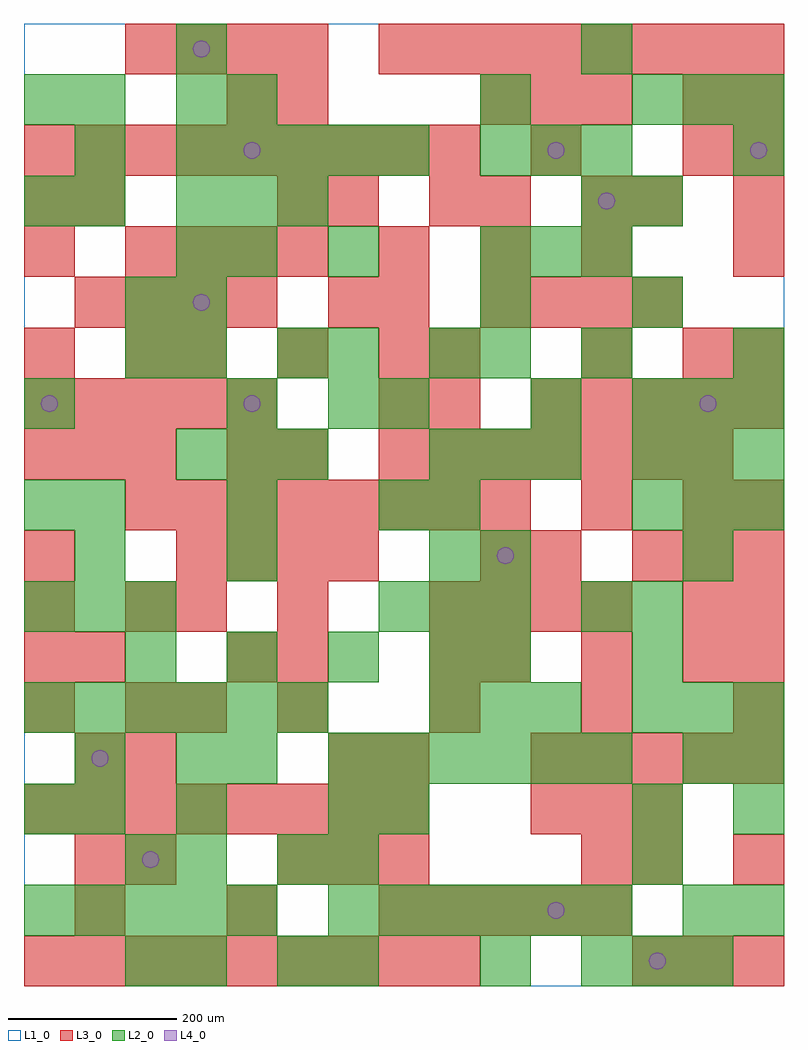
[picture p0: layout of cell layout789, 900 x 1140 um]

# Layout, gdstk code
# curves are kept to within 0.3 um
import gdstk
lib = gdstk.Library(unit=1e-6, precision=1e-09)
def R(c, l, rs):  # rectangles x0, y0, x1, y1
    for r in rs: c.add(gdstk.rectangle(r[:2], r[2:], *l))
def A(c, l, x, y, w, h, nx, ny, dx, dy):  # array of equal rectangles
    R(c, l, [(x+i*dx, y+j*dy, x+i*dx+w, y+j*dy+h) for i in range(nx) for j in range(ny)])
def P(c, l, *ps):  # polygons
    for p in ps: c.add(gdstk.Polygon(p, *l))
L1_0 = (1, 0)
L2_0 = (2, 0)
L3_0 = (3, 0)
L4_0 = (4, 0)

layout789 = lib.new_cell('layout789')
R(layout789, L1_0, [(0,0,900,1140)])
A(layout789, L2_0, 660, 0, 60, 60, 3, 1, 60, 0)
A(layout789, L2_0, 0, 60, 60, 60, 5, 1, 60, 0)
A(layout789, L2_0, 360, 60, 60, 60, 6, 2, 60, 180)
A(layout789, L2_0, 180, 120, 60, 60, 1, 3, 0, 60)
A(layout789, L2_0, 0, 300, 60, 60, 6, 1, 60, 0)
A(layout789, L2_0, 480, 300, 60, 60, 3, 2, 60, 300)
A(layout789, L2_0, 720, 300, 60, 60, 3, 2, 60, 240)
A(layout789, L2_0, 120, 360, 60, 60, 4, 1, 120, 0)
A(layout789, L2_0, 0, 420, 60, 60, 3, 1, 60, 0)
A(layout789, L2_0, 420, 420, 60, 60, 3, 1, 60, 0)
A(layout789, L2_0, 240, 480, 60, 60, 1, 4, 0, 180)
A(layout789, L2_0, 60, 540, 60, 60, 3, 1, 180, 0)
A(layout789, L2_0, 180, 600, 60, 60, 3, 2, 60, 300)
A(layout789, L2_0, 720, 600, 60, 60, 3, 2, 60, 60)
A(layout789, L2_0, 180, 720, 60, 60, 1, 3, 0, 60)
A(layout789, L2_0, 660, 720, 60, 60, 1, 3, 0, 180)
A(layout789, L2_0, 540, 840, 60, 60, 3, 2, 60, 120)
A(layout789, L2_0, 60, 900, 60, 60, 1, 3, 0, 60)
A(layout789, L2_0, 180, 960, 60, 60, 5, 1, 60, 0)
A(layout789, L2_0, 720, 1020, 60, 60, 3, 1, 60, 0)
R(layout789, L2_0, [(120,0,180,60), (180,0,240,60), (300,0,360,60), (360,0,420,60), (540,0,600,60), (780,60,840,120), (840,60,900,120), (120,120,180,180), (300,120,360,180), (360,120,420,180), (720,120,780,180), (0,180,60,240), (60,180,120,240), (360,180,420,240), (420,180,480,240), (720,180,780,240), (840,180,900,240), (60,240,120,300), (240,240,300,300), (780,240,840,300), (840,240,900,300), (540,360,600,420), (720,360,780,420), (660,420,720,480), (720,420,780,480), (60,480,120,540), (480,480,540,540), (540,480,600,540), (780,480,840,540), (0,540,60,600), (480,540,540,600), (0,660,60,720), (360,660,420,720), (420,660,480,720), (600,660,660,720), (120,720,180,780), (300,720,360,780), (360,720,420,780), (480,720,540,780), (540,720,600,780), (840,720,900,780), (120,780,180,840), (540,780,600,840), (720,780,780,840), (360,840,420,900), (0,900,60,960), (720,900,780,960), (840,960,900,1020), (0,1020,60,1080), (180,1020,240,1080), (540,1020,600,1080), (180,1080,240,1140)])
A(layout789, L3_0, 0, 0, 60, 60, 9, 2, 60, 960)
A(layout789, L3_0, 720, 0, 60, 60, 3, 2, 60, 480)
A(layout789, L3_0, 60, 60, 60, 60, 3, 1, 180, 0)
A(layout789, L3_0, 480, 60, 60, 60, 4, 2, 60, 360)
A(layout789, L3_0, 60, 120, 60, 60, 1, 3, 0, 120)
A(layout789, L3_0, 300, 120, 60, 60, 3, 1, 60, 0)
A(layout789, L3_0, 0, 180, 60, 60, 8, 1, 60, 0)
A(layout789, L3_0, 600, 180, 60, 60, 3, 1, 60, 0)
A(layout789, L3_0, 600, 240, 60, 60, 5, 2, 60, 420)
A(layout789, L3_0, 0, 300, 60, 60, 1, 4, 0, 60)
A(layout789, L3_0, 300, 300, 60, 60, 4, 1, 180, 0)
A(layout789, L3_0, 540, 360, 60, 60, 3, 1, 120, 0)
A(layout789, L3_0, 180, 480, 60, 60, 4, 1, 60, 0)
A(layout789, L3_0, 120, 540, 60, 60, 8, 1, 60, 0)
A(layout789, L3_0, 660, 540, 60, 60, 1, 3, 0, 180)
A(layout789, L3_0, 0, 600, 60, 60, 3, 1, 60, 0)
A(layout789, L3_0, 420, 600, 60, 60, 7, 1, 60, 0)
A(layout789, L3_0, 0, 660, 60, 60, 5, 1, 60, 0)
A(layout789, L3_0, 180, 720, 60, 60, 3, 1, 120, 0)
A(layout789, L3_0, 60, 780, 60, 60, 4, 1, 60, 0)
A(layout789, L3_0, 540, 780, 60, 60, 4, 1, 60, 0)
A(layout789, L3_0, 120, 840, 60, 60, 4, 2, 60, 240)
A(layout789, L3_0, 420, 840, 60, 60, 3, 1, 120, 0)
A(layout789, L3_0, 840, 840, 60, 60, 1, 4, 0, 60)
A(layout789, L3_0, 540, 1020, 60, 60, 3, 1, 60, 0)
A(layout789, L3_0, 420, 1080, 60, 60, 8, 1, 60, 0)
R(layout789, L3_0, [(120,120,180,180), (660,120,720,180), (720,120,780,180), (840,120,900,180), (120,240,180,300), (360,240,420,300), (420,240,480,300), (120,300,180,360), (180,300,240,360), (240,360,300,420), (300,360,360,420), (480,360,540,420), (840,360,900,420), (120,420,180,480), (180,420,240,480), (300,420,360,480), (780,420,840,480), (840,420,900,480), (540,480,600,540), (600,480,660,540), (780,540,840,600), (840,540,900,600), (240,600,300,660), (300,600,360,660), (420,660,480,720), (480,660,540,720), (0,720,60,780), (120,720,180,780), (480,720,540,780), (780,720,840,780), (840,720,900,780), (360,780,420,840), (420,780,480,840), (0,840,60,900), (0,900,60,960), (60,900,120,960), (300,900,360,960), (360,900,420,960), (480,900,540,960), (540,900,600,960), (720,900,780,960), (600,960,660,1020), (780,960,840,1020), (240,1020,300,1080), (300,1020,360,1080), (780,1020,840,1080)])
P(layout789, L4_0, [(40,690),(39.239,693.827),(37.071,697.071),(33.827,699.239),(30,700),(26.173,699.239),(22.929,697.071),(20.761,693.827),(20,690),(20.761,686.173),(22.929,682.929),(26.173,680.761),(30,680),(33.827,680.761),(37.071,682.929),(39.239,686.173)],
  [(100,270),(99.239,273.827),(97.071,277.071),(93.827,279.239),(90,280),(86.173,279.239),(82.929,277.071),(80.761,273.827),(80,270),(80.761,266.173),(82.929,262.929),(86.173,260.761),(90,260),(93.827,260.761),(97.071,262.929),(99.239,266.173)],
  [(160,150),(159.239,153.827),(157.071,157.071),(153.827,159.239),(150,160),(146.173,159.239),(142.929,157.071),(140.761,153.827),(140,150),(140.761,146.173),(142.929,142.929),(146.173,140.761),(150,140),(153.827,140.761),(157.071,142.929),(159.239,146.173)],
  [(220,810),(219.239,813.827),(217.071,817.071),(213.827,819.239),(210,820),(206.173,819.239),(202.929,817.071),(200.761,813.827),(200,810),(200.761,806.173),(202.929,802.929),(206.173,800.761),(210,800),(213.827,800.761),(217.071,802.929),(219.239,806.173)],
  [(220,1110),(219.239,1113.827),(217.071,1117.071),(213.827,1119.239),(210,1120),(206.173,1119.239),(202.929,1117.071),(200.761,1113.827),(200,1110),(200.761,1106.173),(202.929,1102.929),(206.173,1100.761),(210,1100),(213.827,1100.761),(217.071,1102.929),(219.239,1106.173)],
  [(280,690),(279.239,693.827),(277.071,697.071),(273.827,699.239),(270,700),(266.173,699.239),(262.929,697.071),(260.761,693.827),(260,690),(260.761,686.173),(262.929,682.929),(266.173,680.761),(270,680),(273.827,680.761),(277.071,682.929),(279.239,686.173)],
  [(280,990),(279.239,993.827),(277.071,997.071),(273.827,999.239),(270,1000),(266.173,999.239),(262.929,997.071),(260.761,993.827),(260,990),(260.761,986.173),(262.929,982.929),(266.173,980.761),(270,980),(273.827,980.761),(277.071,982.929),(279.239,986.173)],
  [(580,510),(579.239,513.827),(577.071,517.071),(573.827,519.239),(570,520),(566.173,519.239),(562.929,517.071),(560.761,513.827),(560,510),(560.761,506.173),(562.929,502.929),(566.173,500.761),(570,500),(573.827,500.761),(577.071,502.929),(579.239,506.173)],
  [(640,90),(639.239,93.827),(637.071,97.071),(633.827,99.239),(630,100),(626.173,99.239),(622.929,97.071),(620.761,93.827),(620,90),(620.761,86.173),(622.929,82.929),(626.173,80.761),(630,80),(633.827,80.761),(637.071,82.929),(639.239,86.173)],
  [(640,990),(639.239,993.827),(637.071,997.071),(633.827,999.239),(630,1000),(626.173,999.239),(622.929,997.071),(620.761,993.827),(620,990),(620.761,986.173),(622.929,982.929),(626.173,980.761),(630,980),(633.827,980.761),(637.071,982.929),(639.239,986.173)],
  [(700,930),(699.239,933.827),(697.071,937.071),(693.827,939.239),(690,940),(686.173,939.239),(682.929,937.071),(680.761,933.827),(680,930),(680.761,926.173),(682.929,922.929),(686.173,920.761),(690,920),(693.827,920.761),(697.071,922.929),(699.239,926.173)],
  [(760,30),(759.239,33.827),(757.071,37.071),(753.827,39.239),(750,40),(746.173,39.239),(742.929,37.071),(740.761,33.827),(740,30),(740.761,26.173),(742.929,22.929),(746.173,20.761),(750,20),(753.827,20.761),(757.071,22.929),(759.239,26.173)],
  [(820,690),(819.239,693.827),(817.071,697.071),(813.827,699.239),(810,700),(806.173,699.239),(802.929,697.071),(800.761,693.827),(800,690),(800.761,686.173),(802.929,682.929),(806.173,680.761),(810,680),(813.827,680.761),(817.071,682.929),(819.239,686.173)],
  [(880,990),(879.239,993.827),(877.071,997.071),(873.827,999.239),(870,1000),(866.173,999.239),(862.929,997.071),(860.761,993.827),(860,990),(860.761,986.173),(862.929,982.929),(866.173,980.761),(870,980),(873.827,980.761),(877.071,982.929),(879.239,986.173)])

lib.write_gds('layout789.gds')
